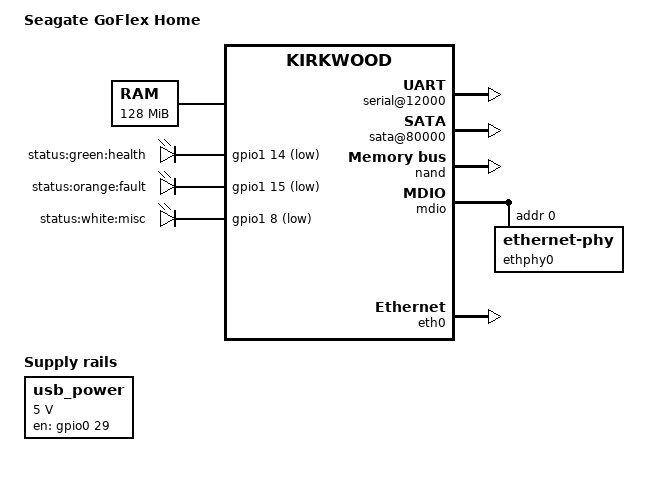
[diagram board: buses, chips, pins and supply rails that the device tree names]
/dts-v1/;

#include "kirkwood.dtsi"
#include "kirkwood-6281.dtsi"

/ {
	model = "Seagate GoFlex Home";
	compatible = "seagate,goflexhome", "marvell,kirkwood-88f6281", "marvell,kirkwood";

	aliases {
		led-boot = &led_health;
		led-failsafe = &led_fault;
		led-running = &led_health;
		led-upgrade = &led_fault;
	};

	memory@0 {
		device_type = "memory";
		reg = <0x00000000 0x8000000>;
	};

	chosen {
		bootargs = "console=ttyS0,115200n8 earlyprintk root=/dev/sda1 rootdelay=10";
		stdout-path = &uart0;
	};

	ocp@f1000000 {
		pinctrl: pin-controller@10000 {
			pmx_usb_power_enable: pmx-usb-power-enable {
				marvell,pins = "mpp29";
				marvell,function = "gpio";
			};

			pmx_led_white: pmx-led-white {
				marvell,pins = "mpp40";
				marvell,function = "gpio";
			};

			pmx_led_green: pmx-led_green {
				marvell,pins = "mpp46";
				marvell,function = "gpio";
			};

			pmx_led_orange: pmx-led-orange {
				marvell,pins = "mpp47";
				marvell,function = "gpio";
			};
		};

		serial@12000 {
			status = "okay";
		};

		sata@80000 {
			status = "okay";
			nr-ports = <2>;
		};
	};

	gpio-leds {
		compatible = "gpio-leds";

		led_health: health {
			label = "status:green:health";
			gpios = <&gpio1 14 GPIO_ACTIVE_LOW>;
			default-state = "on";
		};

		led_fault: fault {
			label = "status:orange:fault";
			gpios = <&gpio1 15 GPIO_ACTIVE_LOW>;
		};

		misc {
			label = "status:white:misc";
			gpios = <&gpio1 8 GPIO_ACTIVE_LOW>;
			linux,default-trigger = "disk-activity";
		};
	};

	regulators {
		compatible = "simple-bus";

		#address-cells = <1>;
		#size-cells = <0>;

		pinctrl-0 = <&pmx_usb_power_enable>;
		pinctrl-names = "default";

		usb_power: regulator@1 {
			compatible = "regulator-fixed";
			reg = <1>;
			regulator-name = "USB Power";
			regulator-min-microvolt = <5000000>;
			regulator-max-microvolt = <5000000>;
			enable-active-high;
			regulator-always-on;
			regulator-boot-on;
			gpio = <&gpio0 29 GPIO_ACTIVE_HIGH>;
		};
	};
};

&nand {
	status = "okay";

	chip-delay = <40>;

	partition@0 {
		label = "u-boot";
		reg = <0x0000000 0x0100000>;
		read-only;
	};

	partition@100000 {
		label = "ubi";
		reg = <0x0100000 0xff00000>;
	};
};

&mdio {
	status = "okay";

	ethphy0: ethernet-phy@0 {
		reg = <0>;
	};
};

&eth0 {
	status = "okay";

	ethernet0-port@0 {
		phy-handle = <&ethphy0>;
	};
};
